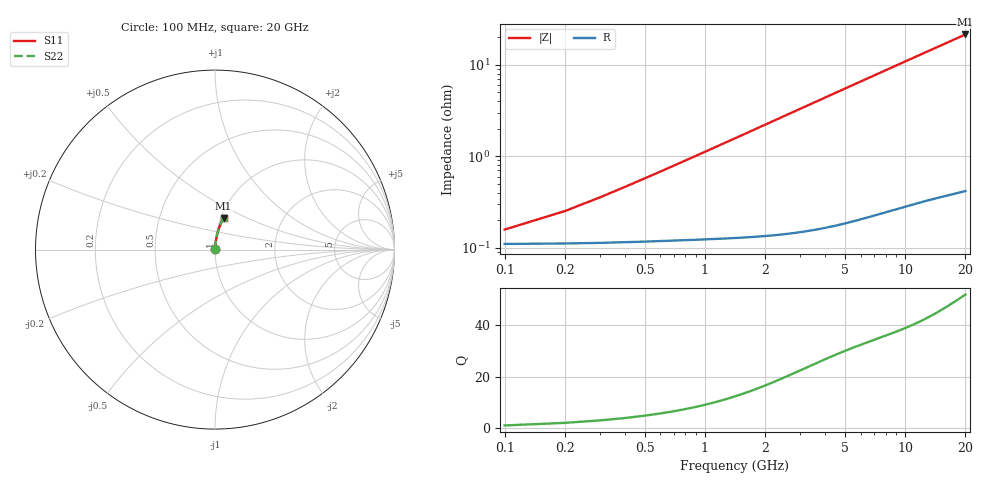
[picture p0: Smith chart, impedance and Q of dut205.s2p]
! Touchstone file exported from HFSS 2026.1.0
!  File:  C:/ffzhzh/LocalFiles/Ansys_Project_Files/temp_train_BSMRDL_205_1782987798_40604.aedt
!  Generated:  06:24:33 PM Jul  2, 2026
!  Design:  BSMRDL
!  Project:  temp_train_BSMRDL_205_1782987798_40604
! Variables:
!  h_bsmrdl = 4.41um
!  h_ox = 20um
!  h_rdl = 5um
!  h_sub = 80um
!  h_tmrdl = 5um
!  h_tsv = 80um
!  h_via = 3um
!  l_bsmrdl = 126.14um
!  l_sub = 526.14um
!  l_tmrdl = 200um
!  m_sub = 200um
!  pitch = 51.3um
!  r_tsv = 6um
!  s_tmrdl = 10um
!  w_bsmrdl = 10.35um
!  w_sub = 500um
!  w_tmrdl = 12um
!  x_tsv_center1 = 206um
!  x_tsv_center2 = 342.49um
!  x_tsv_center3 = 554.49um
!  x_tsv_center4 = 690.98um
!  x_tsv_center5 = 902.98um
!  x_tsv_center6 = 1039.47um
# GHz S MA R 50.000000
! Terminal data exported
! Port[1] = BSM_RDL1_1_T1
! Port[2] = BSM_RDL1_1_T2
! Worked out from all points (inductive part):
!   200 points, 100 MHz to 20 GHz, reference 50 ohm
!   read as one part in series: L = 178 pH near 400 MHz
!   highest Q = 51.8 at 20 GHz (marker M1), where L = 171 pH
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0.1  0.001475 41.9  0.9989 -0.1  0.9989 -0.1  0.001475 41.9
! Gamma 0 0 0 0
! Port Impedance 50 0 50 0
0.2  0.00226 60.5  0.9989 -0.1  0.9989 -0.1  0.00226 60.5
0.3  0.003152 68.8  0.9989 -0.2  0.9989 -0.2  0.003152 68.8
0.4  0.004077 73.4  0.9988 -0.3  0.9988 -0.3  0.004077 73.4
0.5  0.005015 76.2  0.9988 -0.4  0.9988 -0.4  0.005015 76.2
0.6  0.005957 78.2  0.9988 -0.4  0.9988 -0.4  0.005957 78.2
0.8  0.007851 80.6  0.9988 -0.6  0.9988 -0.6  0.007851 80.6
1.1  0.0107 82.6  0.9987 -0.8  0.9987 -0.8  0.0107 82.6
1.5  0.01452 83.9  0.9986 -1.1  0.9986 -1.1  0.01452 83.9
1.8  0.01738 84.4  0.9985 -1.3  0.9985 -1.3  0.01738 84.4
2.1  0.02025 84.7  0.9984 -1.5  0.9984 -1.5  0.02025 84.7
2.7  0.02597 84.9  0.9982 -1.9  0.9982 -1.9  0.02597 84.9
3.5  0.03358 84.9  0.9979 -2.5  0.9979 -2.5  0.03358 84.9
4.2  0.04022 84.6  0.9975 -3.0  0.9975 -3.0  0.04022 84.6
5  0.04777 84.3  0.997 -3.6  0.997 -3.6  0.04777 84.2
5.9  0.05621 83.8  0.9964 -4.2  0.9964 -4.2  0.05621 83.8
6.8  0.06461 83.2  0.9957 -4.8  0.9957 -4.8  0.06461 83.2
8.3  0.07852 82.3  0.9944 -5.9  0.9944 -5.9  0.07852 82.3
10.1  0.09505 81.2  0.9927 -7.1  0.9927 -7.1  0.09505 81.2
13.4  0.1249 79.1  0.9889 -9.4  0.9889 -9.4  0.1249 79.1
16.7  0.1543 77.0  0.9843 -11.6  0.9843 -11.6  0.1543 77.0
20  0.1832 74.9  0.979 -13.8  0.979 -13.8  0.1832 74.9
